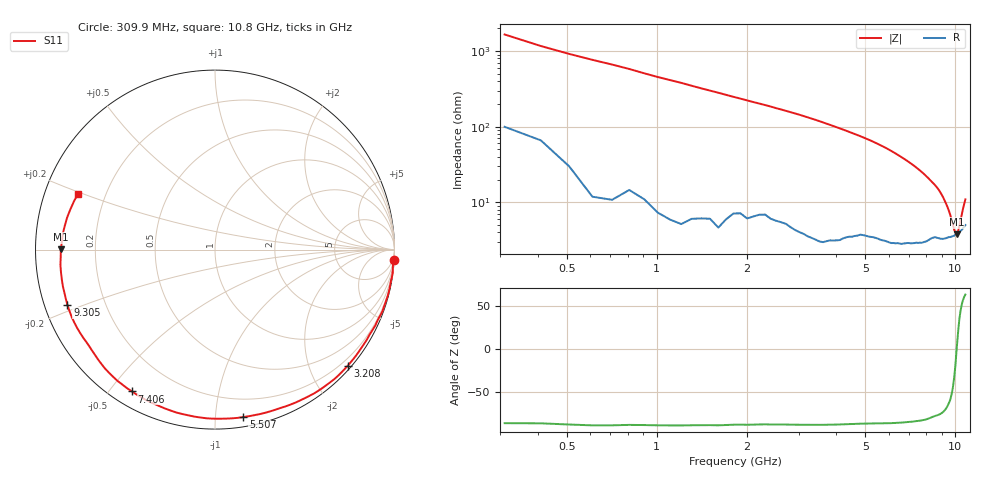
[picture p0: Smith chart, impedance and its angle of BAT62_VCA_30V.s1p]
! Infineon Technologies  Discrete & RF Semiconductors
! BAT62
! VCA = 30 V
! One-Port S-Parameters
# Hz  S  MA  R  50
!f  S11
!Hz  Mag  Ang
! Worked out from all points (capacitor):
!   106 points, 309.9 MHz to 10.8 GHz, reference 50 ohm
!   read as one part to ground: C = 333 fF near 309.9 MHz
!   lowest |Z| = 3.8 ohm at 10.1 GHz (marker M1)
!   series resonance near 10.1 GHz, so ESL is about 750 pH
!   S11 on the Smith chart (normalised r, x): 309.9 MHz: 2, -33; 3.208 GHz: 0.07, -2.66; 5.507 GHz: 0.07, -1.18; 7.406 GHz: 0.06, -0.57; 9.305 GHz: 0.07, -0.18; 10.8 GHz: 0.10, +0.19
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3.0985e8  0.9964 -3.4
7.0965e8  0.9976 -8.6
1.10945e9  0.9966 -13.8
1.70915e9  0.9917 -21.5
2.4088e9  0.9836 -30.3
3.0085e9  0.9828 -38.3
3.2084e9  0.9826 -41.2
3.6082e9  0.981 -47.4
4.30785e9  0.9673 -58.9
5.0075e9  0.9523 -71.0
5.50725e9  0.9463 -80.4
5.6072e9  0.9459 -82.4
6.007e9  0.942 -90.6
6.30685e9  0.9377 -96.9
6.6067e9  0.9329 -103.4
6.90655e9  0.9253 -109.8
7.4063e9  0.9155 -120.3
7.70615e9  0.9113 -126.5
8.006e9  0.9026 -132.8
8.2059e9  0.8939 -136.8
8.8056e9  0.8833 -148.2
9.30535e9  0.8781 -159.4
9.50525e9  0.8727 -164.0
9.8051e9  0.8674 -171.6
1.010495e10  0.8589 179.9
1.030485e10  0.8524 174.0
1.050475e10  0.843 167.7
1.08046e10  0.8242 157.8
